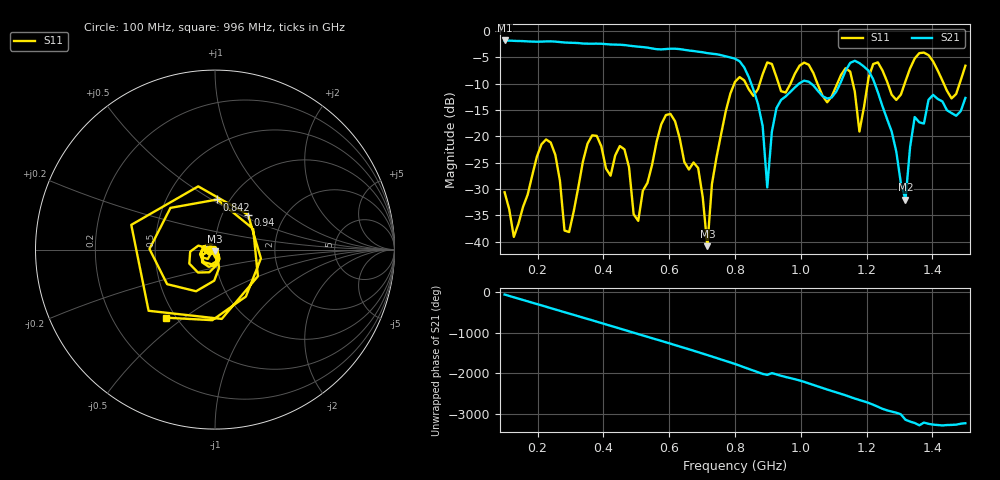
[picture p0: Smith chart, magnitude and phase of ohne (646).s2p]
! NanoVNA-App
! Date: 2025-09-25 14:25:49
! Start: 100MHz Stop: 1,5GHz Points: 101
! S-Parameter data: F S11 S21 S12 S22
# Hz S RI R 50
!  Frequency  S11_Real  S11_Imag  S21_Real  S21_Imag  S12_Real  S12_Imag  S22_Real  S22_Imag
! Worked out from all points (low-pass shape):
!   101 points, 100 MHz to 1.5 GHz, reference 50 ohm
!   highest |S21| = -1.79 dB at 100 MHz (marker M1); lowest = -32.0 dB at 1.318 GHz (marker M2)
!   |S21| within 3 dB of the highest: start of sweep to 770.9 MHz
!   lowest |S11| = -40.9 dB at 716 MHz (marker M3), VSWR 1.02, Z = 49.8 - j0.889 ohm
!   |S11| at or under -10 dB: start of sweep to 797.8 MHz; 833.2 MHz to 875.1 MHz (41.88 MHz wide, 4.9 % of centre); 1.051 GHz to 1.111 GHz (60.21 MHz wide, 5.57 % of centre)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
!   S12 and S22 are empty: the file has one direction only
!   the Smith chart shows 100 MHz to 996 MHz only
!   S11 on the Smith chart (normalised r, x): 100 MHz: 0.94, -0.01; 842 MHz: 0.88, +0.53; 940 MHz: 1.32, +0.55; 996 MHz: 0.44, -0.43
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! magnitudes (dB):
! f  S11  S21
! 100 MHz  -30.6  -1.8
! 128 MHz  -39.1  -1.9
! 226 MHz  -20.6  -2.0
! 296 MHz  -38.2  -2.2
! 338 MHz  -24.8  -2.4
! 464 MHz  -22.5  -2.7
! 506 MHz  -36.1  -3.0
! 576 MHz  -17.7  -3.5
! 688 MHz  -26.0  -3.9
! 716 MHz  -40.9  -4.2
! 800 MHz  -9.7  -5.3
! 842 MHz  -11.1  -8.8
! 898 MHz  -6.0  -29.7
! 940 MHz  -11.4  -13.1
! 996 MHz  -6.6  -9.9
! 1.038 GHz  -8.0  -10.3
! 1.178 GHz  -19.1  -6.1
! 1.22 GHz  -6.3  -9.2
! 1.276 GHz  -12.1  -19.1
! 1.318 GHz  -9.5  -32.0
! 1.346 GHz  -5.2  -16.3
! 1.5 GHz  -6.6  -12.7
